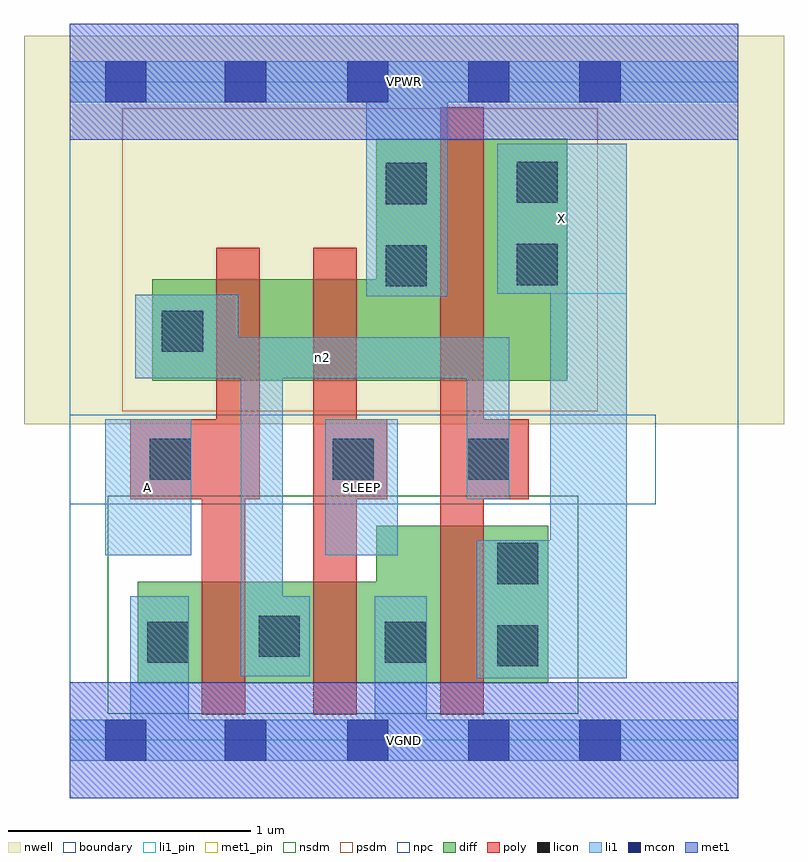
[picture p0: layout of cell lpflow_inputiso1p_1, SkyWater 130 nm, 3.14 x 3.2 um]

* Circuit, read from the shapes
.subckt lpflow_inputiso1p_1 A SLEEP VGND VPWR X n2
XM1 n2 A VGND VSUBS sky130_fd_pr__nfet_01v8 w=0.42 l=0.18
XM2 VGND SLEEP n2 VSUBS sky130_fd_pr__nfet_01v8 w=0.42 l=0.18
XM3 X n2 VGND VSUBS sky130_fd_pr__nfet_01v8 w=0.65 l=0.18
XM4 n1 A n2 n3 sky130_fd_pr__pfet_01v8 w=0.42 l=0.18
XM5 VPWR SLEEP n1 n3 sky130_fd_pr__pfet_01v8 w=0.42 l=0.18
XM6 X n2 VPWR n3 sky130_fd_pr__pfet_01v8 w=1 l=0.18
.ends

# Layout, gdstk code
import gdstk
lib = gdstk.Library(unit=1e-6, precision=1e-09)
def R(c, l, rs):  # rectangles x0, y0, x1, y1
    for r in rs: c.add(gdstk.rectangle(r[:2], r[2:], *l))
nwell = (64, 20)
diff = (65, 20)
poly = (66, 20)
licon = (66, 44)
li1_pin = (67, 16)
li1 = (67, 20)
mcon = (67, 44)
met1_pin = (68, 16)
met1 = (68, 20)
nsdm = (93, 44)
psdm = (94, 20)
npc = (95, 20)
boundary = (235, 4)

lpflow_inputiso1p_1 = lib.new_cell('lpflow_inputiso1p_1')
R(lpflow_inputiso1p_1, nwell, [(-0.19,1.305,2.95,2.91), (0,1.305,2.76,2.91)])
R(lpflow_inputiso1p_1, diff, [(0.28,0.235,1.975,0.655), (1.265,0.235,1.975,0.885), (0.34,1.485,2.055,1.905), (1.265,1.485,2.055,2.485)])
R(lpflow_inputiso1p_1, poly, [(0.545,0.105,0.725,1.325), (1.005,0.105,1.185,2.035), (1.53,0.105,1.71,2.615), (0.25,0.995,0.785,1.325), (0.605,0.995,0.785,2.035), (1.005,0.995,1.31,1.325), (1.53,0.995,1.895,1.325)])
R(lpflow_inputiso1p_1, licon, [(1.765,0.305,1.935,0.475), (0.32,0.32,0.49,0.49), (1.3,0.32,1.47,0.49), (0.78,0.345,0.95,0.515), (1.765,0.645,1.935,0.815), (0.33,1.075,0.5,1.245), (1.085,1.075,1.255,1.245), (1.645,1.075,1.815,1.245), (0.38,1.605,0.55,1.775), (1.305,1.875,1.475,2.045), (1.845,1.88,2.015,2.05), (1.305,2.215,1.475,2.385), (1.845,2.22,2.015,2.39)])
R(lpflow_inputiso1p_1, li1_pin, [(0.145,0.765,0.5,1.325), (1.055,0.765,1.355,1.325), (1.765,1.845,2.3,2.465)])
R(lpflow_inputiso1p_1, li1, [(0,-0.085,2.76,0.085), (0.25,-0.085,0.49,0.595), (1.26,-0.085,1.475,0.595), (1.68,0.255,2.3,0.825), (1.985,0.255,2.3,2.465), (0.705,0.265,0.88,1.665), (0.705,0.265,0.99,0.595), (0.145,0.765,0.5,1.325), (1.055,0.765,1.355,1.325), (1.64,0.995,1.815,1.665), (0.27,1.495,1.815,1.665), (0.27,1.495,0.695,1.84), (1.225,1.835,1.56,2.805), (1.765,1.845,2.3,2.465), (0,2.635,2.76,2.805)])
R(lpflow_inputiso1p_1, mcon, [(0.145,-0.085,0.315,0.085), (0.64,-0.085,0.81,0.085), (1.145,-0.085,1.315,0.085), (1.645,-0.085,1.815,0.085), (2.105,-0.085,2.275,0.085), (0.145,2.635,0.315,2.805), (0.64,2.635,0.81,2.805), (1.145,2.635,1.315,2.805), (1.645,2.635,1.815,2.805), (2.105,2.635,2.275,2.805)])
R(lpflow_inputiso1p_1, met1_pin, [(0,-0.24,2.76,0.24), (0,2.48,2.76,2.96)])
R(lpflow_inputiso1p_1, met1, [(0,-0.24,2.76,0.24), (0,2.48,2.76,2.96)])
R(lpflow_inputiso1p_1, nsdm, [(0.155,0.11,2.1,1.01)])
R(lpflow_inputiso1p_1, psdm, [(0.215,1.36,2.18,2.61)])
R(lpflow_inputiso1p_1, npc, [(0,0.975,2.42,1.345)])
R(lpflow_inputiso1p_1, boundary, [(0,0,2.76,2.72)])
lpflow_inputiso1p_1.add(gdstk.Label('A', (0.322,1.045), layer=67, texttype=5))
lpflow_inputiso1p_1.add(gdstk.Label('SLEEP', (1.205,1.045), layer=67, texttype=5))
lpflow_inputiso1p_1.add(gdstk.Label('X', (2.032,2.155), layer=67, texttype=5))
lpflow_inputiso1p_1.add(gdstk.Label('n2', (1.042,1.58), layer=67, texttype=5))
lpflow_inputiso1p_1.add(gdstk.Label('VPWR', (1.38,2.72), layer=68, texttype=5))
lpflow_inputiso1p_1.add(gdstk.Label('VGND', (1.38,0), layer=68, texttype=5))
lpflow_inputiso1p_1.add(gdstk.Label('A', (0.322,1.045), layer=67, texttype=16))
lpflow_inputiso1p_1.add(gdstk.Label('SLEEP', (1.205,1.045), layer=67, texttype=16))
lpflow_inputiso1p_1.add(gdstk.Label('X', (2.032,2.155), layer=67, texttype=16))
lpflow_inputiso1p_1.add(gdstk.Label('VPWR', (1.38,2.72), layer=68, texttype=16))
lpflow_inputiso1p_1.add(gdstk.Label('VGND', (1.38,0), layer=68, texttype=16))

lib.write_gds('lpflow_inputiso1p_1.gds')
